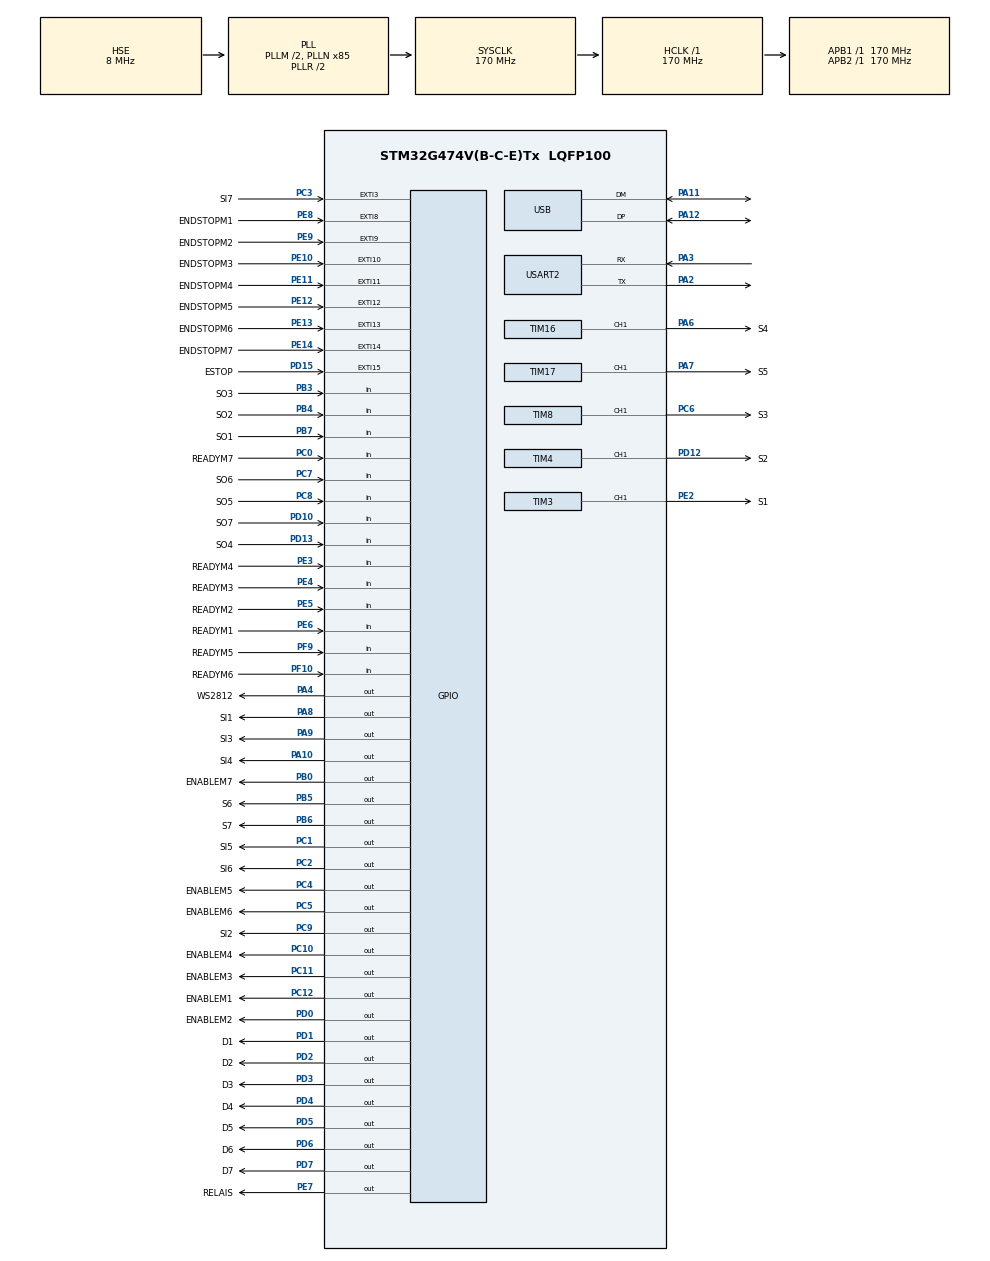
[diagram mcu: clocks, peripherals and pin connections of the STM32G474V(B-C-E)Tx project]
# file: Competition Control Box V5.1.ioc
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Mcu.Family=STM32G4
Mcu.Name=STM32G474V(B-C-E)Tx
Mcu.Package=LQFP100
NVIC.PriorityGroup=NVIC_PRIORITYGROUP_4
NVIC.TIM1_BRK_TIM15_IRQn=true\:0\:0\:false\:false\:true\:true\:true\:true
NVIC.TIM1_CC_IRQn=true\:0\:0\:false\:false\:true\:true\:true\:true
NVIC.TIM20_CC_IRQn=true\:0\:0\:false\:false\:true\:true\:true\:true
NVIC.TIM2_IRQn=true\:0\:0\:false\:false\:true\:true\:true\:true
NVIC.TIM5_IRQn=true\:0\:0\:false\:false\:true\:true\:true\:true
NVIC.TIM6_DAC_IRQn=true\:0\:0\:false\:false\:true\:true\:true\:true
NVIC.USB_LP_IRQn=true\:0\:0\:false\:false\:true\:false\:true\:true
PA10.GPIO_Label=SI4
PA10.Signal=GPIO_Output
PA11.Mode=Device
PA11.Signal=USB_DM
PA12.Mode=Device
PA12.Signal=USB_DP
PA13.Signal=SYS_JTMS-SWDIO
PA14.Signal=SYS_JTCK-SWCLK
PA2.Mode=Asynchronous
PA2.Signal=USART2_TX
PA3.Mode=Asynchronous
PA3.Signal=USART2_RX
PA4.GPIO_Label=WS2812
PA4.Signal=GPIO_Output
PA6.GPIO_Label=S4
PA6.Signal=S_TIM16_CH1
PA7.GPIO_Label=S5
PA7.Signal=S_TIM17_CH1
PA8.GPIO_Label=SI1
PA8.Signal=GPIO_Output
PA9.GPIO_Label=SI3
PA9.Signal=GPIO_Output
PB0.GPIO_Label=ENABLEM7
PB0.Signal=GPIO_Output
PB3.GPIO_Label=SO3
PB3.GPIO_PuPd=GPIO_PULLUP
PB3.Signal=GPIO_Input
PB4.GPIO_Label=SO2
PB4.GPIO_PuPd=GPIO_PULLUP
PB4.Signal=GPIO_Input
PB5.GPIO_Label=S6
PB5.GPIO_Speed=GPIO_SPEED_FREQ_VERY_HIGH
PB5.Signal=GPIO_Output
PB6.GPIO_FM6=SYSCFG_FASTMODEPLUS_PB6
PB6.GPIO_Label=S7
PB6.GPIO_Speed=GPIO_SPEED_FREQ_VERY_HIGH
PB6.Signal=GPIO_Output
PB7.GPIO_Label=SO1
PB7.GPIO_PuPd=GPIO_PULLUP
PB7.Signal=GPIO_Input
PC0.GPIO_Label=READYM7
PC0.GPIO_PuPd=GPIO_PULLUP
PC0.Signal=GPIO_Input
PC1.GPIO_Label=SI5
PC1.Signal=GPIO_Output
PC10.GPIO_Label=ENABLEM4
PC10.Signal=GPIO_Output
PC11.GPIO_Label=ENABLEM3
PC11.Signal=GPIO_Output
PC12.GPIO_Label=ENABLEM1
PC12.Signal=GPIO_Output
PC2.GPIO_Label=SI6
PC2.Signal=GPIO_Output
PC3.GPIO_Label=SI7
PC3.Signal=GPXTI3
PC4.GPIO_Label=ENABLEM5
PC4.Signal=GPIO_Output
PC5.GPIO_Label=ENABLEM6
PC5.Signal=GPIO_Output
PC6.GPIO_Label=S3
PC6.Signal=S_TIM8_CH1
PC7.GPIO_Label=SO6
PC7.GPIO_PuPd=GPIO_PULLUP
PC7.Signal=GPIO_Input
PC8.GPIO_Label=SO5
PC8.GPIO_PuPd=GPIO_PULLUP
PC8.Signal=GPIO_Input
PC9.GPIO_Label=SI2
PC9.Signal=GPIO_Output
PD0.GPIO_Label=ENABLEM2
PD0.Signal=GPIO_Output
PD1.GPIO_Label=D1
PD1.GPIO_Speed=GPIO_SPEED_FREQ_VERY_HIGH
PD1.Signal=GPIO_Output
PD10.GPIO_Label=SO7
PD10.GPIO_PuPd=GPIO_PULLUP
PD10.Signal=GPIO_Input
PD12.GPIO_Label=S2
PD12.Signal=S_TIM4_CH1
PD13.GPIO_Label=SO4
PD13.GPIO_PuPd=GPIO_PULLUP
PD13.Signal=GPIO_Input
PD15.GPIO_Label=ESTOP
PD15.GPIO_ModeDefaultEXTI=GPIO_MODE_IT_RISING
PD15.GPIO_PuPd=GPIO_PULLUP
PD15.Signal=GPXTI15
PD2.GPIO_Label=D2
PD2.GPIO_Speed=GPIO_SPEED_FREQ_VERY_HIGH
PD2.Signal=GPIO_Output
PD3.GPIO_Label=D3
PD3.GPIO_Speed=GPIO_SPEED_FREQ_VERY_HIGH
PD3.Signal=GPIO_Output
PD4.GPIO_Label=D4
PD4.GPIO_Speed=GPIO_SPEED_FREQ_VERY_HIGH
PD4.Signal=GPIO_Output
PD5.GPIO_Label=D5
PD5.GPIO_Speed=GPIO_SPEED_FREQ_VERY_HIGH
PD5.Signal=GPIO_Output
PD6.GPIO_Label=D6
PD6.GPIO_Speed=GPIO_SPEED_FREQ_HIGH
PD6.Signal=GPIO_Output
PD7.GPIO_Label=D7
PD7.GPIO_Speed=GPIO_SPEED_FREQ_VERY_HIGH
PD7.Signal=GPIO_Output
PE10.GPIO_Label=ENDSTOPM3
PE10.GPIO_ModeDefaultEXTI=GPIO_MODE_IT_FALLING
PE10.GPIO_PuPd=GPIO_PULLUP
PE10.Signal=GPXTI10
PE11.GPIO_Label=ENDSTOPM4
PE11.GPIO_ModeDefaultEXTI=GPIO_MODE_IT_FALLING
PE11.GPIO_PuPd=GPIO_PULLUP
PE11.Signal=GPXTI11
PE12.GPIO_Label=ENDSTOPM5
PE12.GPIO_ModeDefaultEXTI=GPIO_MODE_IT_FALLING
PE12.GPIO_PuPd=GPIO_PULLUP
PE12.Signal=GPXTI12
PE13.GPIO_Label=ENDSTOPM6
PE13.GPIO_ModeDefaultEXTI=GPIO_MODE_IT_FALLING
PE13.GPIO_PuPd=GPIO_PULLUP
PE13.Signal=GPXTI13
PE14.GPIO_Label=ENDSTOPM7
PE14.GPIO_ModeDefaultEXTI=GPIO_MODE_IT_FALLING
PE14.GPIO_PuPd=GPIO_PULLUP
PE14.Signal=GPXTI14
PE2.GPIO_Label=S1
PE2.Signal=S_TIM3_CH1
PE3.GPIO_Label=READYM4
PE3.GPIO_PuPd=GPIO_PULLUP
PE3.Signal=GPIO_Input
PE4.GPIO_Label=READYM3
PE4.GPIO_PuPd=GPIO_PULLUP
PE4.Signal=GPIO_Input
PE5.GPIO_Label=READYM2
PE5.GPIO_PuPd=GPIO_PULLUP
PE5.Signal=GPIO_Input
PE6.GPIO_Label=READYM1
PE6.GPIO_PuPd=GPIO_PULLUP
PE6.Signal=GPIO_Input
PE7.GPIO_Label=RELAIS
PE7.Signal=GPIO_Output
PE8.GPIO_Label=ENDSTOPM1
PE8.GPIO_ModeDefaultEXTI=GPIO_MODE_IT_FALLING
PE8.GPIO_PuPd=GPIO_PULLUP
PE8.Signal=GPXTI8
PE9.GPIO_Label=ENDSTOPM2
PE9.GPIO_ModeDefaultEXTI=GPIO_MODE_IT_FALLING
PE9.GPIO_PuPd=GPIO_PULLUP
PE9.Signal=GPXTI9
PF0-OSC_IN.Mode=HSE-External-Oscillator
PF0-OSC_IN.Signal=RCC_OSC_IN
PF1-OSC_OUT.Mode=HSE-External-Oscillator
PF1-OSC_OUT.Signal=RCC_OSC_OUT
PF10.GPIO_Label=READYM6
PF10.GPIO_PuPd=GPIO_PULLUP
PF10.Signal=GPIO_Input
PF9.GPIO_Label=READYM5
PF9.GPIO_PuPd=GPIO_PULLUP
PF9.Signal=GPIO_Input
ProjectManager.HeapSize=0x200
ProjectManager.StackSize=0x400
ProjectManager.TargetToolchain=STM32CubeIDE
RCC.ADC12Freq_Value=170000000
RCC.ADC345Freq_Value=170000000
RCC.AHBFreq_Value=170000000
RCC.APB1Freq_Value=170000000
RCC.APB1TimFreq_Value=170000000
RCC.APB2Freq_Value=170000000
RCC.APB2TimFreq_Value=170000000
RCC.CK48CLockSelection=RCC_USBCLKSOURCE_HSI48
RCC.CortexFreq_Value=170000000
RCC.EXTERNAL_CLOCK_VALUE=12288000
RCC.HCLKFreq_Value=170000000
RCC.HSE_VALUE=8000000
RCC.HSI48_VALUE=48000000
RCC.HSI_VALUE=16000000
RCC.LSE_VALUE=32768
RCC.PLLM=RCC_PLLM_DIV2
RCC.PLLN=85
RCC.PLLSourceVirtual=RCC_PLLSOURCE_HSE
RCC.SYSCLKFreq_VALUE=170000000
RCC.SYSCLKSource=RCC_SYSCLKSOURCE_PLLCLK
RCC.USBFreq_Value=48000000
RCC.VCOOutputFreq_Value=340000000
SH.S_TIM16_CH1.0=TIM16_CH1,PWM Generation1 CH1
SH.S_TIM17_CH1.0=TIM17_CH1,PWM Generation1 CH1
SH.S_TIM3_CH1.0=TIM3_CH1,PWM Generation1 CH1
SH.S_TIM4_CH1.0=TIM4_CH1,PWM Generation1 CH1
SH.S_TIM8_CH1.0=TIM8_CH1,PWM Generation1 CH1
TIM1.Channel-PWM\ Generation1\ No\ Output=TIM_CHANNEL_1
TIM15.Channel-Output\ Compare1\ No\ Output=TIM_CHANNEL_1
TIM16.Channel=TIM_CHANNEL_1
TIM16.PeriodNoDither=377
TIM16.PulseNoDither_1=189
TIM17.Channel=TIM_CHANNEL_1
TIM17.PeriodNoDither=377
TIM17.PulseNoDither_1=189
TIM2.Channel-Output\ Compare1\ No\ Output=TIM_CHANNEL_1
TIM2.TIM_MasterOutputTrigger=TIM_TRGO_UPDATE
TIM20.Channel-Output\ Compare1\ No\ Output=TIM_CHANNEL_1
TIM3.Channel-PWM\ Generation1\ CH1=TIM_CHANNEL_1
TIM3.PeriodNoDither=377
TIM3.PulseNoDither_1=189
TIM3.TIM_MasterOutputTrigger=TIM_TRGO_UPDATE
TIM4.Channel-PWM\ Generation1\ CH1=TIM_CHANNEL_1
TIM4.PeriodNoDither=377
TIM4.PulseNoDither_1=189
TIM4.TIM_MasterOutputTrigger=TIM_TRGO_UPDATE
TIM8.Channel-PWM\ Generation1\ CH1=TIM_CHANNEL_1
TIM8.PeriodNoDither=377
TIM8.PulseNoDither_1=189
TIM8.TIM_MasterOutputTrigger=TIM_TRGO_UPDATE
USART2.VirtualMode-Asynchronous=VM_ASYNC
USB_DEVICE.CLASS_NAME_FS=CDC
USB_DEVICE.MANUFACTURER_STRING=Lebois Racing
USB_DEVICE.PID_CDC_FS=22337
USB_DEVICE.PRODUCT_STRING_CDC_FS=Competition Control Box V3
USB_DEVICE.VID=0xCB30
USB_DEVICE.VirtualMode=Cdc
USB_DEVICE.VirtualModeFS=Cdc_FS
VP_SYS_VS_DBSignals.Mode=DisableDeadBatterySignals
VP_TIM15_VS_ClockSourceITR.Mode=TriggerSource_ITR4
VP_TIM15_VS_ControllerModeClock.Mode=Clock Mode
VP_TIM15_VS_no_output1.Mode=Output Compare1 No Output
VP_TIM16_VS_ClockSourceINT.Mode=Enable_Timer
VP_TIM17_VS_ClockSourceINT.Mode=Enable_Timer
VP_TIM1_VS_ClockSourceITR.Mode=TriggerSource_ITR1
VP_TIM1_VS_ControllerModeClock.Mode=Clock Mode
VP_TIM1_VS_no_output1.Mode=PWM Generation1 No Output
VP_TIM20_VS_ClockSourceITR.Mode=TriggerSource_ITR3
VP_TIM20_VS_ControllerModeClock.Mode=Clock Mode
VP_TIM20_VS_no_output1.Mode=Output Compare1 No Output
VP_TIM2_VS_ClockSourceITR.Mode=TriggerSource_ITR2
VP_TIM2_VS_ControllerModeClock.Mode=Clock Mode
VP_TIM2_VS_no_output1.Mode=Output Compare1 No Output
VP_TIM5_VS_ClockSourceITR.Mode=TriggerSource_ITR0
VP_TIM5_VS_ControllerModeClock.Mode=Clock Mode
VP_TIM6_VS_ClockSourceINT.Mode=Enable_Timer
VP_USB_DEVICE_VS_USB_DEVICE_CDC_FS.Mode=CDC_FS
board=custom

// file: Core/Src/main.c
/* USER CODE BEGIN Header */
/**
  ******************************************************************************
  * @file           : main.c
  * @brief          : Main program body
  ******************************************************************************
  * @attention
  *
  * Copyright (c) 2026 STMicroelectronics.
  * All rights reserved.
  *
  * This software is licensed under terms that can be found in the LICENSE file
  * in the root directory of this software component.
  * If no LICENSE file comes with this software, it is provided AS-IS.
  *
  ******************************************************************************
  */
/* USER CODE END Header */
#include "main.h"
#include "usb_device.h"

/* USER CODE BEGIN Includes */
#include "motion.h"
#include "debug_uart.h"
#include "simhub_parser.h"
#include "mc_protocol.h"
#include "usbd_cdc_if.h"
#include "status_led.h"
#include "bl_update.h"
/* USER CODE END Includes */

/* USER CODE BEGIN PD */

#define STEP_GEN_TIMER_CLK_HZ     170000000u
#define STEP_GEN_PERIOD           1699u
#define STEP_GEN_PULSE            ((STEP_GEN_PERIOD + 1u) / 2u)

#define DEBUG_MOTION_LOG_ENABLE   0u
#define DEBUG_MOTION_LOG_PERIOD_MS 1000u

#define TIM6_BITBANG_TICK_HZ      MOTION_BITBANG_TICK_HZ
#define TIM6_BITBANG_PSC          0u
#define TIM6_BITBANG_PERIOD       ((STEP_GEN_TIMER_CLK_HZ / TIM6_BITBANG_TICK_HZ) - 1u)

/* USER CODE END PD */

TIM_HandleTypeDef htim1;
TIM_HandleTypeDef htim2;
TIM_HandleTypeDef htim3;
TIM_HandleTypeDef htim4;
TIM_HandleTypeDef htim5;
TIM_HandleTypeDef htim6;
TIM_HandleTypeDef htim8;
TIM_HandleTypeDef htim15;
TIM_HandleTypeDef htim16;
TIM_HandleTypeDef htim17;
TIM_HandleTypeDef htim20;

UART_HandleTypeDef huart2;

void SystemClock_Config(void);
static void MX_GPIO_Init(void);
static void MX_TIM1_Init(void);
static void MX_TIM2_Init(void);
static void MX_TIM3_Init(void);
static void MX_TIM4_Init(void);
static void MX_TIM5_Init(void);
static void MX_TIM6_Init(void);
static void MX_TIM8_Init(void);
static void MX_TIM15_Init(void);
static void MX_TIM16_Init(void);
static void MX_TIM17_Init(void);
static void MX_TIM20_Init(void);
static void MX_USART2_UART_Init(void);

/* USER CODE BEGIN 0 */

static inline void set_slave_ts(TIM_TypeDef *t, uint8_t ts) {
  t->SMCR &= ~TIM_SMCR_TS;
  t->SMCR |= ((uint32_t)(ts & 0x07U) << 4) | ((uint32_t)((ts >> 3) & 0x03U) << 20);
}
static uint32_t test_itr_count(TIM_TypeDef *slave, uint8_t ts)
{
  slave->CR1 &= ~TIM_CR1_CEN;
  slave->SMCR &= ~(TIM_SMCR_SMS | TIM_SMCR_TS);
  slave->SMCR |= TIM_SMCR_SMS_2 | TIM_SMCR_SMS_1 | TIM_SMCR_SMS_0;
  slave->SMCR |= ((uint32_t)(ts & 0x07U) << 4) | ((uint32_t)((ts >> 3) & 0x03U) << 20);
  slave->CNT = 0;
  slave->CR1 |= TIM_CR1_CEN;

  uint32_t before = slave->CNT;
  HAL_Delay(50);
  uint32_t after = slave->CNT;
  slave->CR1 &= ~TIM_CR1_CEN;
  return (uint32_t)(after - before);
}

static void Debug_Send(const char *m, int k)
{
  HAL_UART_Transmit(&huart2, (uint8_t*)m, k, HAL_MAX_DELAY);
}

static void scan_pair(const char *name, TIM_HandleTypeDef *genTim, uint32_t genCh,
                      TIM_TypeDef *slave)
{
  char m[80];
  HAL_TIM_PWM_Start(genTim, genCh);
  HAL_Delay(5);

  int found = -1;
  for (uint8_t ts = 0; ts < 16; ts++) {
    uint32_t moved = test_itr_count(slave, ts);
    int k = snprintf(m, sizeof(m), "%s TS=%u moved=%lu\r\n",
                     name, ts, (unsigned long)moved);
    Debug_Send(m, k);
    if (moved > 1000 && found < 0) found = ts;
  }
  HAL_TIM_PWM_Stop(genTim, genCh);

  int k = snprintf(m, sizeof(m), ">>> %s : ITR/TS = %d\r\n\r\n", name, found);
  Debug_Send(m, k);
}

#define DBG_ENABLE_ACTIVE_LOW  1u
#define DBG_RELAIS_ACTIVE_HIGH 1u
#define DBG_ENDSTOP_ACTIVE_LOW 1u
#define DBG_ESTOP_ACTIVE_LOW   0u

typedef struct {
  GPIO_TypeDef *port;
  uint16_t pin;
} io_pin_t;

static const io_pin_t k_enable_pins[7] = {
  { ENABLEM1_GPIO_Port, ENABLEM1_Pin },
  { ENABLEM2_GPIO_Port, ENABLEM2_Pin },
  { ENABLEM3_GPIO_Port, ENABLEM3_Pin },
  { ENABLEM4_GPIO_Port, ENABLEM4_Pin },
  { ENABLEM5_GPIO_Port, ENABLEM5_Pin },
  { ENABLEM6_GPIO_Port, ENABLEM6_Pin },
  { ENABLEM7_GPIO_Port, ENABLEM7_Pin },
};

static const io_pin_t k_endstop_pins[7] = {
  { ENDSTOPM1_GPIO_Port, ENDSTOPM1_Pin },
  { ENDSTOPM2_GPIO_Port, ENDSTOPM2_Pin },
  { ENDSTOPM3_GPIO_Port, ENDSTOPM3_Pin },
  { ENDSTOPM4_GPIO_Port, ENDSTOPM4_Pin },
  { ENDSTOPM5_GPIO_Port, ENDSTOPM5_Pin },
  { ENDSTOPM6_GPIO_Port, ENDSTOPM6_Pin },
  { ENDSTOPM7_GPIO_Port, ENDSTOPM7_Pin },
};

static const io_pin_t k_ready_pins[7] = {
  { READYM1_GPIO_Port, READYM1_Pin },
  { READYM2_GPIO_Port, READYM2_Pin },
  { READYM3_GPIO_Port, READYM3_Pin },
  { READYM4_GPIO_Port, READYM4_Pin },
  { READYM5_GPIO_Port, READYM5_Pin },
  { READYM6_GPIO_Port, READYM6_Pin },
  { READYM7_GPIO_Port, READYM7_Pin },
};

static const io_pin_t k_so_pins[7] = {
  { SO1_GPIO_Port, SO1_Pin },
  { SO2_GPIO_Port, SO2_Pin },
  { SO3_GPIO_Port, SO3_Pin },
  { SO4_GPIO_Port, SO4_Pin },
  { SO5_GPIO_Port, SO5_Pin },
  { SO6_GPIO_Port, SO6_Pin },
  { SO7_GPIO_Port, SO7_Pin },
};

static const io_pin_t k_si_pins[7] = {
  { SI1_GPIO_Port, SI1_Pin },
  { SI2_GPIO_Port, SI2_Pin },
  { SI3_GPIO_Port, SI3_Pin },
  { SI4_GPIO_Port, SI4_Pin },
  { SI5_GPIO_Port, SI5_Pin },
  { SI6_GPIO_Port, SI6_Pin },
  { SI7_GPIO_Port, SI7_Pin },
};

static const io_pin_t k_dir_pins[7] = {
  { D1_GPIO_Port, D1_Pin },
  { D2_GPIO_Port, D2_Pin },
  { D3_GPIO_Port, D3_Pin },
  { D4_GPIO_Port, D4_Pin },
  { D5_GPIO_Port, D5_Pin },
  { D6_GPIO_Port, D6_Pin },
  { D7_GPIO_Port, D7_Pin },
};

static const io_pin_t k_step_pins[7] = {
  { S1_GPIO_Port, S1_Pin },
  { S2_GPIO_Port, S2_Pin },
  { S3_GPIO_Port, S3_Pin },
  { S4_GPIO_Port, S4_Pin },
  { S5_GPIO_Port, S5_Pin },
  { S6_GPIO_Port, S6_Pin },
  { S7_GPIO_Port, S7_Pin },
};

static uint32_t io_read_mask7(const io_pin_t *pins)
{
  uint32_t mask = 0u;
  for (uint8_t i = 0u; i < 7u; i++) {
    if (HAL_GPIO_ReadPin(pins[i].port, pins[i].pin) == GPIO_PIN_SET) {
      mask |= (1u << i);
    }
  }
  return mask;
}

static void Debug_LogIoState(void)
{
  static uint8_t s_valid = 0u;
  static uint32_t s_prev_en_raw = 0u;
  static uint32_t s_prev_end_raw = 0u;
  static uint32_t s_prev_ready = 0u;
  static uint32_t s_prev_so = 0u;
  static uint32_t s_prev_si = 0u;
  static uint8_t s_prev_relais = 0u;
  static uint8_t s_prev_estop = 0u;
  static uint8_t s_prev_servo = 0u;

  const uint32_t en_raw = io_read_mask7(k_enable_pins) & 0x7Fu;
  const uint32_t end_raw = io_read_mask7(k_endstop_pins) & 0x7Fu;
  const uint32_t ready = io_read_mask7(k_ready_pins) & 0x7Fu;
  const uint32_t so = io_read_mask7(k_so_pins) & 0x7Fu;
  const uint32_t si = io_read_mask7(k_si_pins) & 0x7Fu;
  const uint32_t dir = io_read_mask7(k_dir_pins) & 0x7Fu;
  const uint32_t step = io_read_mask7(k_step_pins) & 0x7Fu;

  const uint8_t relais_raw = (HAL_GPIO_ReadPin(RELAIS_GPIO_Port, RELAIS_Pin) == GPIO_PIN_SET) ? 1u : 0u;
  const uint8_t estop_raw = (HAL_GPIO_ReadPin(ESTOP_GPIO_Port, ESTOP_Pin) == GPIO_PIN_SET) ? 1u : 0u;
  const uint8_t servo_on = MC_ServoEnabled() ? 1u : 0u;

  if (s_valid &&
      en_raw == s_prev_en_raw &&
      end_raw == s_prev_end_raw &&
      ready == s_prev_ready &&
      so == s_prev_so &&
      si == s_prev_si &&
      /* DIR/STEP exclus du declencheur : ils changent en permanence pendant
         le mouvement -> log UART bloquant (~12 ms @115200) chaque seconde,
         gelant le refresh des cibles SimHub (a-coups perceptibles). */
      relais_raw == s_prev_relais &&
      estop_raw == s_prev_estop &&
      servo_on == s_prev_servo) {
    return;
  }

  s_prev_en_raw = en_raw;
  s_prev_end_raw = end_raw;
  s_prev_ready = ready;
  s_prev_so = so;
  s_prev_si = si;
  s_prev_relais = relais_raw;
  s_prev_estop = estop_raw;
  s_prev_servo = servo_on;
  s_valid = 1u;

  const uint32_t en_active = DBG_ENABLE_ACTIVE_LOW ? ((~en_raw) & 0x7Fu) : en_raw;
  const uint32_t end_active = DBG_ENDSTOP_ACTIVE_LOW ? ((~end_raw) & 0x7Fu) : end_raw;
  const uint8_t relais_active = DBG_RELAIS_ACTIVE_HIGH ? relais_raw : (uint8_t)(!relais_raw);
  const uint8_t estop_active = DBG_ESTOP_ACTIVE_LOW ? (uint8_t)(!estop_raw) : estop_raw;

  DebugUart_Printf("[IO] SERVO=%u REL(raw=%u act=%u) ESTOP(raw=%u act=%u) EN(raw=0x%02lX act=0x%02lX) END(raw=0x%02lX act=0x%02lX)\r\n",
                   (unsigned)servo_on,
                   (unsigned)relais_raw,
                   (unsigned)relais_active,
                   (unsigned)estop_raw,
                   (unsigned)estop_active,
                   (unsigned long)en_raw,
                   (unsigned long)en_active,
                   (unsigned long)end_raw,
                   (unsigned long)end_active);

  DebugUart_Printf("[IO] READY=0x%02lX SO=0x%02lX SI=0x%02lX DIR=0x%02lX STEP=0x%02lX\r\n",
                   (unsigned long)ready,
                   (unsigned long)so,
                   (unsigned long)si,
                   (unsigned long)dir,
                   (unsigned long)step);
}

static void Debug_LogMotionState(void)
{
  static uint8_t s_valid = 0u;
  static int32_t s_prev_pos[7] = {0};
  static int32_t s_prev_tgt[7] = {0};

  int32_t pos[7];
  int32_t tgt[7];
  uint8_t changed = (uint8_t)(!s_valid);

  for (uint8_t i = 0u; i < 7u; i++) {
    pos[i] = Motion_GetPosition(i);
    tgt[i] = Motion_GetTarget(i);
    if (s_valid && (pos[i] != s_prev_pos[i] || tgt[i] != s_prev_tgt[i])) {
      changed = 1u;
    }
  }

  if (!changed) {
    return;
  }

  DebugUart_Printf("[MOT] M1 p=%ld t=%ld e=%ld | M2 p=%ld t=%ld e=%ld | M3 p=%ld t=%ld e=%ld | M4 p=%ld t=%ld e=%ld\r\n",
                   (long)pos[0], (long)tgt[0], (long)(tgt[0] - pos[0]),
                   (long)pos[1], (long)tgt[1], (long)(tgt[1] - pos[1]),
                   (long)pos[2], (long)tgt[2], (long)(tgt[2] - pos[2]),
                   (long)pos[3], (long)tgt[3], (long)(tgt[3] - pos[3]));
  DebugUart_Printf("[MOT] M5 p=%ld t=%ld e=%ld | M6 p=%ld t=%ld e=%ld | M7 p=%ld t=%ld e=%ld\r\n",
                   (long)pos[4], (long)tgt[4], (long)(tgt[4] - pos[4]),
                   (long)pos[5], (long)tgt[5], (long)(tgt[5] - pos[5]),
                   (long)pos[6], (long)tgt[6], (long)(tgt[6] - pos[6]));

  for (uint8_t i = 0u; i < 7u; i++) {
    s_prev_pos[i] = pos[i];
    s_prev_tgt[i] = tgt[i];
  }
  s_valid = 1u;
}

/* USER CODE END 0 */

int main(void)
{

  /* USER CODE BEGIN 1 */
  /* L'application est liee en banque 2 (0x08040000 ; banque 1 = bootloader CDC).
     Relocaliser la table des vecteurs avant HAL_Init(). */
 // SCB->VTOR = 0x08040000U;
  /* USER CODE END 1 */

  /* MCU Configuration--------------------------------------------------------*/

  /* Reset of all peripherals, Initializes the Flash interface and the Systick. */
  HAL_Init();

  /* Configure the system clock */
  SystemClock_Config();

  /* Initialize all configured peripherals */
  MX_GPIO_Init();
  MX_USB_Device_Init();
  MX_TIM1_Init();
  MX_TIM2_Init();
  MX_TIM3_Init();
  MX_TIM4_Init();
  MX_TIM5_Init();
  MX_TIM6_Init();
  MX_TIM8_Init();
  MX_TIM15_Init();
  MX_TIM16_Init();
  MX_TIM17_Init();
  MX_TIM20_Init();
  MX_USART2_UART_Init();
  /* USER CODE BEGIN 2 */

    DebugUart_Print("[BOOT] UART debug ready\r\n");
    DebugUart_Printf("[BOOT] STEP cfg ARR=%lu CCR=%lu Freq~%lu Hz\r\n",
                     (unsigned long)STEP_GEN_PERIOD,
                     (unsigned long)STEP_GEN_PULSE,
                     (unsigned long)(STEP_GEN_TIMER_CLK_HZ / (STEP_GEN_PERIOD + 1u)));

  /* NOTE: ajouter les MX_TIMx_Init() generes par CubeMX AVANT ces appels
     (TIM2/3/4/5/8/1/16/20/17/15/6). Ils seront inseres ici par CubeMX. */
  SimHub_Init();
  Motion_Init();
  MC_Init();
  StatusLed_Init();
  StatusLed_ShowPerMotor(MC_GetReadyMask(), 0u, 255u, 0u);
  /* USER CODE END 2 */

  /* Infinite loop */
  /* USER CODE BEGIN WHILE */
  while (1)
  {
    SimHub_Process();          /* decode les trames USB -> Motion_SetTarget */
    MC_Process();              /* ESTOP deferre + autres taches protocole    */
    BL_Update_Process();       /* mise a jour bootloader si mode actif       */

    static uint32_t s_dbg_last_ms = 0u;
    static uint32_t s_mot_last_ms = 0u;

    uint32_t now = HAL_GetTick();
    if ((uint32_t)(now - s_dbg_last_ms) >= 1000u) {
      Debug_LogIoState();

      s_dbg_last_ms = now;
    }

    if (DEBUG_MOTION_LOG_ENABLE &&
        (uint32_t)(now - s_mot_last_ms) >= DEBUG_MOTION_LOG_PERIOD_MS) {
      Debug_LogMotionState();
      s_mot_last_ms = now;
    }
    /* USER CODE END WHILE */

  }
}

void SystemClock_Config(void)
{
  RCC_OscInitTypeDef RCC_OscInitStruct = {0};
  RCC_ClkInitTypeDef RCC_ClkInitStruct = {0};

  /** Configure the main internal regulator output voltage
  */
  HAL_PWREx_ControlVoltageScaling(PWR_REGULATOR_VOLTAGE_SCALE1_BOOST);

  /** Initializes the RCC Oscillators according to the specified parameters
  * in the RCC_OscInitTypeDef structure.
  */
  RCC_OscInitStruct.OscillatorType = RCC_OSCILLATORTYPE_HSI48|RCC_OSCILLATORTYPE_HSE;
  RCC_OscInitStruct.HSEState = RCC_HSE_ON;
  RCC_OscInitStruct.HSI48State = RCC_HSI48_ON;
  RCC_OscInitStruct.PLL.PLLState = RCC_PLL_ON;
  RCC_OscInitStruct.PLL.PLLSource = RCC_PLLSOURCE_HSE;
  RCC_OscInitStruct.PLL.PLLM = RCC_PLLM_DIV2;
  RCC_OscInitStruct.PLL.PLLN = 85;
  RCC_OscInitStruct.PLL.PLLP = RCC_PLLP_DIV2;
  RCC_OscInitStruct.PLL.PLLQ = RCC_PLLQ_DIV2;
  RCC_OscInitStruct.PLL.PLLR = RCC_PLLR_DIV2;
  if (HAL_RCC_OscConfig(&RCC_OscInitStruct) != HAL_OK)
  {
    Error_Handler();
  }

  /** Initializes the CPU, AHB and APB buses clocks
  */
  RCC_ClkInitStruct.ClockType = RCC_CLOCKTYPE_HCLK|RCC_CLOCKTYPE_SYSCLK
                              |RCC_CLOCKTYPE_PCLK1|RCC_CLOCKTYPE_PCLK2;
  RCC_ClkInitStruct.SYSCLKSource = RCC_SYSCLKSOURCE_PLLCLK;
  RCC_ClkInitStruct.AHBCLKDivider = RCC_SYSCLK_DIV1;
  RCC_ClkInitStruct.APB1CLKDivider = RCC_HCLK_DIV1;
  RCC_ClkInitStruct.APB2CLKDivider = RCC_HCLK_DIV1;

  if (HAL_RCC_ClockConfig(&RCC_ClkInitStruct, FLASH_LATENCY_4) != HAL_OK)
  {
    Error_Handler();
  }
}

static void MX_TIM1_Init(void)
{

  TIM_SlaveConfigTypeDef sSlaveConfig = {0};
  TIM_MasterConfigTypeDef sMasterConfig = {0};
  TIM_OC_InitTypeDef sConfigOC = {0};
  TIM_BreakDeadTimeConfigTypeDef sBreakDeadTimeConfig = {0};

  htim1.Instance = TIM1;
  htim1.Init.Prescaler = 0;
  htim1.Init.CounterMode = TIM_COUNTERMODE_UP;
  htim1.Init.Period = 65535;
  htim1.Init.ClockDivision = TIM_CLOCKDIVISION_DIV1;
  htim1.Init.RepetitionCounter = 0;
  htim1.Init.AutoReloadPreload = TIM_AUTORELOAD_PRELOAD_DISABLE;
  if (HAL_TIM_Base_Init(&htim1) != HAL_OK)
  {
    Error_Handler();
  }
  if (HAL_TIM_PWM_Init(&htim1) != HAL_OK)
  {
    Error_Handler();
  }
  sSlaveConfig.SlaveMode = TIM_SLAVEMODE_EXTERNAL1;
  sSlaveConfig.InputTrigger = TIM_TS_ITR1;
  if (HAL_TIM_SlaveConfigSynchro(&htim1, &sSlaveConfig) != HAL_OK)
  {
    Error_Handler();
  }
  sMasterConfig.MasterOutputTrigger = TIM_TRGO_RESET;
  sMasterConfig.MasterOutputTrigger2 = TIM_TRGO2_RESET;
  sMasterConfig.MasterSlaveMode = TIM_MASTERSLAVEMODE_DISABLE;
  if (HAL_TIMEx_MasterConfigSynchronization(&htim1, &sMasterConfig) != HAL_OK)
  {
    Error_Handler();
  }
  sConfigOC.OCMode = TIM_OCMODE_PWM1;
  sConfigOC.Pulse = 0;
  sConfigOC.OCPolarity = TIM_OCPOLARITY_HIGH;
  sConfigOC.OCNPolarity = TIM_OCNPOLARITY_HIGH;
  sConfigOC.OCFastMode = TIM_OCFAST_DISABLE;
  sConfigOC.OCIdleState = TIM_OCIDLESTATE_RESET;
  sConfigOC.OCNIdleState = TIM_OCNIDLESTATE_RESET;
  if (HAL_TIM_PWM_ConfigChannel(&htim1, &sConfigOC, TIM_CHANNEL_1) != HAL_OK)
  {
    Error_Handler();
  }
  sBreakDeadTimeConfig.OffStateRunMode = TIM_OSSR_DISABLE;
  sBreakDeadTimeConfig.OffStateIDLEMode = TIM_OSSI_DISABLE;
  sBreakDeadTimeConfig.LockLevel = TIM_LOCKLEVEL_OFF;
  sBreakDeadTimeConfig.DeadTime = 0;
  sBreakDeadTimeConfig.BreakState = TIM_BREAK_DISABLE;
  sBreakDeadTimeConfig.BreakPolarity = TIM_BREAKPOLARITY_HIGH;
  sBreakDeadTimeConfig.BreakFilter = 0;
  sBreakDeadTimeConfig.BreakAFMode = TIM_BREAK_AFMODE_INPUT;
  sBreakDeadTimeConfig.Break2State = TIM_BREAK2_DISABLE;
  sBreakDeadTimeConfig.Break2Polarity = TIM_BREAK2POLARITY_HIGH;
  sBreakDeadTimeConfig.Break2Filter = 0;
  sBreakDeadTimeConfig.Break2AFMode = TIM_BREAK_AFMODE_INPUT;
  sBreakDeadTimeConfig.AutomaticOutput = TIM_AUTOMATICOUTPUT_DISABLE;
  if (HAL_TIMEx_ConfigBreakDeadTime(&htim1, &sBreakDeadTimeConfig) != HAL_OK)
  {
    Error_Handler();
  }
  /* USER CODE BEGIN TIM1_Init 2 */
  set_slave_ts(TIM1, 9);
  /* USER CODE END TIM1_Init 2 */

}

static void MX_TIM2_Init(void)
{

  TIM_SlaveConfigTypeDef sSlaveConfig = {0};
  TIM_MasterConfigTypeDef sMasterConfig = {0};
  TIM_OC_InitTypeDef sConfigOC = {0};

  htim2.Instance = TIM2;
  htim2.Init.Prescaler = 0;
  htim2.Init.CounterMode = TIM_COUNTERMODE_UP;
  htim2.Init.Period = 4294967295;
  htim2.Init.ClockDivision = TIM_CLOCKDIVISION_DIV1;
  htim2.Init.AutoReloadPreload = TIM_AUTORELOAD_PRELOAD_DISABLE;
  if (HAL_TIM_Base_Init(&htim2) != HAL_OK)
  {
    Error_Handler();
  }
  if (HAL_TIM_OC_Init(&htim2) != HAL_OK)
  {
    Error_Handler();
  }
  sSlaveConfig.SlaveMode = TIM_SLAVEMODE_EXTERNAL1;
  sSlaveConfig.InputTrigger = TIM_TS_ITR2;
  if (HAL_TIM_SlaveConfigSynchro(&htim2, &sSlaveConfig) != HAL_OK)
  {
    Error_Handler();
  }
  sMasterConfig.MasterOutputTrigger = TIM_TRGO_UPDATE;
  sMasterConfig.MasterSlaveMode = TIM_MASTERSLAVEMODE_DISABLE;
  if (HAL_TIMEx_MasterConfigSynchronization(&htim2, &sMasterConfig) != HAL_OK)
  {
    Error_Handler();
  }
  sConfigOC.OCMode = TIM_OCMODE_TIMING;
  sConfigOC.Pulse = 0;
  sConfigOC.OCPolarity = TIM_OCPOLARITY_HIGH;
  sConfigOC.OCFastMode = TIM_OCFAST_DISABLE;
  if (HAL_TIM_OC_ConfigChannel(&htim2, &sConfigOC, TIM_CHANNEL_1) != HAL_OK)
  {
    Error_Handler();
  }

}

static void MX_TIM3_Init(void)
{

  TIM_MasterConfigTypeDef sMasterConfig = {0};
  TIM_OC_InitTypeDef sConfigOC = {0};

  htim3.Instance = TIM3;
  htim3.Init.Prescaler = 0;
  htim3.Init.CounterMode = TIM_COUNTERMODE_UP;
  htim3.Init.Period = 377;
  htim3.Init.ClockDivision = TIM_CLOCKDIVISION_DIV1;
  htim3.Init.AutoReloadPreload = TIM_AUTORELOAD_PRELOAD_DISABLE;
  if (HAL_TIM_PWM_Init(&htim3) != HAL_OK)
  {
    Error_Handler();
  }
  sMasterConfig.MasterOutputTrigger = TIM_TRGO_UPDATE;
  sMasterConfig.MasterSlaveMode = TIM_MASTERSLAVEMODE_DISABLE;
  if (HAL_TIMEx_MasterConfigSynchronization(&htim3, &sMasterConfig) != HAL_OK)
  {
    Error_Handler();
  }
  sConfigOC.OCMode = TIM_OCMODE_PWM1;
  sConfigOC.Pulse = 189;
  sConfigOC.OCPolarity = TIM_OCPOLARITY_HIGH;
  sConfigOC.OCFastMode = TIM_OCFAST_DISABLE;
  if (HAL_TIM_PWM_ConfigChannel(&htim3, &sConfigOC, TIM_CHANNEL_1) != HAL_OK)
  {
    Error_Handler();
  }
  HAL_TIM_MspPostInit(&htim3);

}

static void MX_TIM4_Init(void)
{

  TIM_MasterConfigTypeDef sMasterConfig = {0};
  TIM_OC_InitTypeDef sConfigOC = {0};

  htim4.Instance = TIM4;
  htim4.Init.Prescaler = 0;
  htim4.Init.CounterMode = TIM_COUNTERMODE_UP;
  htim4.Init.Period = 377;
  htim4.Init.ClockDivision = TIM_CLOCKDIVISION_DIV1;
  htim4.Init.AutoReloadPreload = TIM_AUTORELOAD_PRELOAD_DISABLE;
  if (HAL_TIM_PWM_Init(&htim4) != HAL_OK)
  {
    Error_Handler();
  }
  sMasterConfig.MasterOutputTrigger = TIM_TRGO_UPDATE;
  sMasterConfig.MasterSlaveMode = TIM_MASTERSLAVEMODE_DISABLE;
  if (HAL_TIMEx_MasterConfigSynchronization(&htim4, &sMasterConfig) != HAL_OK)
  {
    Error_Handler();
  }
  sConfigOC.OCMode = TIM_OCMODE_PWM1;
  sConfigOC.Pulse = 189;
  sConfigOC.OCPolarity = TIM_OCPOLARITY_HIGH;
  sConfigOC.OCFastMode = TIM_OCFAST_DISABLE;
  if (HAL_TIM_PWM_ConfigChannel(&htim4, &sConfigOC, TIM_CHANNEL_1) != HAL_OK)
  {
    Error_Handler();
  }
  HAL_TIM_MspPostInit(&htim4);

}

static void MX_TIM5_Init(void)
{

  TIM_SlaveConfigTypeDef sSlaveConfig = {0};
  TIM_MasterConfigTypeDef sMasterConfig = {0};

  htim5.Instance = TIM5;
  htim5.Init.Prescaler = 0;
  htim5.Init.CounterMode = TIM_COUNTERMODE_UP;
  htim5.Init.Period = 4294967295;
  htim5.Init.ClockDivision = TIM_CLOCKDIVISION_DIV1;
  htim5.Init.AutoReloadPreload = TIM_AUTORELOAD_PRELOAD_DISABLE;
  if (HAL_TIM_Base_Init(&htim5) != HAL_OK)
  {
    Error_Handler();
  }
  sSlaveConfig.SlaveMode = TIM_SLAVEMODE_EXTERNAL1;
  sSlaveConfig.InputTrigger = TIM_TS_ITR0;
  if (HAL_TIM_SlaveConfigSynchro(&htim5, &sSlaveConfig) != HAL_OK)
  {
    Error_Handler();
  }
  sMasterConfig.MasterOutputTrigger = TIM_TRGO_RESET;
  sMasterConfig.MasterSlaveMode = TIM_MASTERSLAVEMODE_DISABLE;
  if (HAL_TIMEx_MasterConfigSynchronization(&htim5, &sMasterConfig) != HAL_OK)
  {
    Error_Handler();
  }
  /* USER CODE BEGIN TIM5_Init 2 */
  set_slave_ts(TIM5, 3);
  /* USER CODE END TIM5_Init 2 */

}

static void MX_TIM6_Init(void)
{

  TIM_MasterConfigTypeDef sMasterConfig = {0};

  htim6.Instance = TIM6;
  htim6.Init.Prescaler = 0;
  htim6.Init.CounterMode = TIM_COUNTERMODE_UP;
  htim6.Init.Period = 65535;
  htim6.Init.AutoReloadPreload = TIM_AUTORELOAD_PRELOAD_DISABLE;
  if (HAL_TIM_Base_Init(&htim6) != HAL_OK)
  {
    Error_Handler();
  }
  sMasterConfig.MasterOutputTrigger = TIM_TRGO_RESET;
  sMasterConfig.MasterSlaveMode = TIM_MASTERSLAVEMODE_DISABLE;
  if (HAL_TIMEx_MasterConfigSynchronization(&htim6, &sMasterConfig) != HAL_OK)
  {
    Error_Handler();
  }
  /* USER CODE BEGIN TIM6_Init 2 */
  /* CubeMX genere ARR=65535 (tick ~2.6 kHz -> ~1300 pas/s/axe : bien trop
     lent). On applique ici la cadence bit-bang voulue : 140 kHz, soit
     70 000 pas/s max par axe (2 ticks = 1 pulse). */
  htim6.Instance->PSC = TIM6_BITBANG_PSC;
  htim6.Instance->ARR = TIM6_BITBANG_PERIOD;
  htim6.Instance->EGR = TIM_EGR_UG;   /* charge PSC/ARR immediatement */
  __HAL_TIM_CLEAR_FLAG(&htim6, TIM_FLAG_UPDATE); /* pas d'IT parasite */
  /* USER CODE END TIM6_Init 2 */

}

static void MX_TIM8_Init(void)
{

  TIM_MasterConfigTypeDef sMasterConfig = {0};
  TIM_OC_InitTypeDef sConfigOC = {0};
  TIM_BreakDeadTimeConfigTypeDef sBreakDeadTimeConfig = {0};

  htim8.Instance = TIM8;
  htim8.Init.Prescaler = 0;
  htim8.Init.CounterMode = TIM_COUNTERMODE_UP;
  htim8.Init.Period = 377;
  htim8.Init.ClockDivision = TIM_CLOCKDIVISION_DIV1;
  htim8.Init.RepetitionCounter = 0;
  htim8.Init.AutoReloadPreload = TIM_AUTORELOAD_PRELOAD_DISABLE;
  if (HAL_TIM_PWM_Init(&htim8) != HAL_OK)
  {
    Error_Handler();
  }
  sMasterConfig.MasterOutputTrigger = TIM_TRGO_UPDATE;
  sMasterConfig.MasterOutputTrigger2 = TIM_TRGO2_RESET;
  sMasterConfig.MasterSlaveMode = TIM_MASTERSLAVEMODE_DISABLE;
  if (HAL_TIMEx_MasterConfigSynchronization(&htim8, &sMasterConfig) != HAL_OK)
  {
    Error_Handler();
  }
  sConfigOC.OCMode = TIM_OCMODE_PWM1;
  sConfigOC.Pulse = 189;
  sConfigOC.OCPolarity = TIM_OCPOLARITY_HIGH;
  sConfigOC.OCNPolarity = TIM_OCNPOLARITY_HIGH;
  sConfigOC.OCFastMode = TIM_OCFAST_DISABLE;
  sConfigOC.OCIdleState = TIM_OCIDLESTATE_RESET;
  sConfigOC.OCNIdleState = TIM_OCNIDLESTATE_RESET;
  if (HAL_TIM_PWM_ConfigChannel(&htim8, &sConfigOC, TIM_CHANNEL_1) != HAL_OK)
  {
    Error_Handler();
  }
  sBreakDeadTimeConfig.OffStateRunMode = TIM_OSSR_DISABLE;
  sBreakDeadTimeConfig.OffStateIDLEMode = TIM_OSSI_DISABLE;
  sBreakDeadTimeConfig.LockLevel = TIM_LOCKLEVEL_OFF;
  sBreakDeadTimeConfig.DeadTime = 0;
  sBreakDeadTimeConfig.BreakState = TIM_BREAK_DISABLE;
  sBreakDeadTimeConfig.BreakPolarity = TIM_BREAKPOLARITY_HIGH;
  sBreakDeadTimeConfig.BreakFilter = 0;
  sBreakDeadTimeConfig.BreakAFMode = TIM_BREAK_AFMODE_INPUT;
  sBreakDeadTimeConfig.Break2State = TIM_BREAK2_DISABLE;
  sBreakDeadTimeConfig.Break2Polarity = TIM_BREAK2POLARITY_HIGH;
  sBreakDeadTimeConfig.Break2Filter = 0;
  sBreakDeadTimeConfig.Break2AFMode = TIM_BREAK_AFMODE_INPUT;
  sBreakDeadTimeConfig.AutomaticOutput = TIM_AUTOMATICOUTPUT_DISABLE;
  if (HAL_TIMEx_ConfigBreakDeadTime(&htim8, &sBreakDeadTimeConfig) != HAL_OK)
  {
    Error_Handler();
  }
  HAL_TIM_MspPostInit(&htim8);

}

static void MX_TIM15_Init(void)
{

  TIM_SlaveConfigTypeDef sSlaveConfig = {0};
  TIM_MasterConfigTypeDef sMasterConfig = {0};
  TIM_OC_InitTypeDef sConfigOC = {0};
  TIM_BreakDeadTimeConfigTypeDef sBreakDeadTimeConfig = {0};

  htim15.Instance = TIM15;
  htim15.Init.Prescaler = 0;
  htim15.Init.CounterMode = TIM_COUNTERMODE_UP;
  htim15.Init.Period = 65535;
  htim15.Init.ClockDivision = TIM_CLOCKDIVISION_DIV1;
  htim15.Init.RepetitionCounter = 0;
  htim15.Init.AutoReloadPreload = TIM_AUTORELOAD_PRELOAD_DISABLE;
  if (HAL_TIM_Base_Init(&htim15) != HAL_OK)
  {
    Error_Handler();
  }
  if (HAL_TIM_OC_Init(&htim15) != HAL_OK)
  {
    Error_Handler();
  }
  sSlaveConfig.SlaveMode = TIM_SLAVEMODE_EXTERNAL1;
  sSlaveConfig.InputTrigger = TIM_TS_ITR4;
  if (HAL_TIM_SlaveConfigSynchro(&htim15, &sSlaveConfig) != HAL_OK)
  {
    Error_Handler();
  }
  sMasterConfig.MasterOutputTrigger = TIM_TRGO_RESET;
  sMasterConfig.MasterSlaveMode = TIM_MASTERSLAVEMODE_DISABLE;
  if (HAL_TIMEx_MasterConfigSynchronization(&htim15, &sMasterConfig) != HAL_OK)
  {
    Error_Handler();
  }
  sConfigOC.OCMode = TIM_OCMODE_TIMING;
  sConfigOC.Pulse = 0;
  sConfigOC.OCPolarity = TIM_OCPOLARITY_HIGH;
  sConfigOC.OCNPolarity = TIM_OCNPOLARITY_HIGH;
  sConfigOC.OCFastMode = TIM_OCFAST_DISABLE;
  sConfigOC.OCIdleState = TIM_OCIDLESTATE_RESET;
  sConfigOC.OCNIdleState = TIM_OCNIDLESTATE_RESET;
  if (HAL_TIM_OC_ConfigChannel(&htim15, &sConfigOC, TIM_CHANNEL_1) != HAL_OK)
  {
    Error_Handler();
  }
  sBreakDeadTimeConfig.OffStateRunMode = TIM_OSSR_DISABLE;
  sBreakDeadTimeConfig.OffStateIDLEMode = TIM_OSSI_DISABLE;
  sBreakDeadTimeConfig.LockLevel = TIM_LOCKLEVEL_OFF;
  sBreakDeadTimeConfig.DeadTime = 0;
  sBreakDeadTimeConfig.BreakState = TIM_BREAK_DISABLE;
  sBreakDeadTimeConfig.BreakPolarity = TIM_BREAKPOLARITY_HIGH;
  sBreakDeadTimeConfig.BreakFilter = 0;
  sBreakDeadTimeConfig.AutomaticOutput = TIM_AUTOMATICOUTPUT_DISABLE;
  if (HAL_TIMEx_ConfigBreakDeadTime(&htim15, &sBreakDeadTimeConfig) != HAL_OK)
  {
    Error_Handler();
  }
  /* USER CODE BEGIN TIM15_Init 2 */
  set_slave_ts(TIM15, 12);
  /* USER CODE END TIM15_Init 2 */

}

static void MX_TIM16_Init(void)
{

  TIM_OC_InitTypeDef sConfigOC = {0};
  TIM_BreakDeadTimeConfigTypeDef sBreakDeadTimeConfig = {0};

  htim16.Instance = TIM16;
  htim16.Init.Prescaler = 0;
  htim16.Init.CounterMode = TIM_COUNTERMODE_UP;
  htim16.Init.Period = 377;
  htim16.Init.ClockDivision = TIM_CLOCKDIVISION_DIV1;
  htim16.Init.RepetitionCounter = 0;
  htim16.Init.AutoReloadPreload = TIM_AUTORELOAD_PRELOAD_DISABLE;
  if (HAL_TIM_Base_Init(&htim16) != HAL_OK)
  {
    Error_Handler();
  }
  if (HAL_TIM_PWM_Init(&htim16) != HAL_OK)
  {
    Error_Handler();
  }
  sConfigOC.OCMode = TIM_OCMODE_PWM1;
  sConfigOC.Pulse = 189;
  sConfigOC.OCPolarity = TIM_OCPOLARITY_HIGH;
  sConfigOC.OCNPolarity = TIM_OCNPOLARITY_HIGH;
  sConfigOC.OCFastMode = TIM_OCFAST_DISABLE;
  sConfigOC.OCIdleState = TIM_OCIDLESTATE_RESET;
  sConfigOC.OCNIdleState = TIM_OCNIDLESTATE_RESET;
  if (HAL_TIM_PWM_ConfigChannel(&htim16, &sConfigOC, TIM_CHANNEL_1) != HAL_OK)
  {
    Error_Handler();
  }
  sBreakDeadTimeConfig.OffStateRunMode = TIM_OSSR_DISABLE;
  sBreakDeadTimeConfig.OffStateIDLEMode = TIM_OSSI_DISABLE;
  sBreakDeadTimeConfig.LockLevel = TIM_LOCKLEVEL_OFF;
  sBreakDeadTimeConfig.DeadTime = 0;
  sBreakDeadTimeConfig.BreakState = TIM_BREAK_DISABLE;
  sBreakDeadTimeConfig.BreakPolarity = TIM_BREAKPOLARITY_HIGH;
  sBreakDeadTimeConfig.BreakFilter = 0;
  sBreakDeadTimeConfig.AutomaticOutput = TIM_AUTOMATICOUTPUT_DISABLE;
  if (HAL_TIMEx_ConfigBreakDeadTime(&htim16, &sBreakDeadTimeConfig) != HAL_OK)
  {
    Error_Handler();
  }
  HAL_TIM_MspPostInit(&htim16);

}

static void MX_TIM17_Init(void)
{

  TIM_OC_InitTypeDef sConfigOC = {0};
  TIM_BreakDeadTimeConfigTypeDef sBreakDeadTimeConfig = {0};

  htim17.Instance = TIM17;
  htim17.Init.Prescaler = 0;
  htim17.Init.CounterMode = TIM_COUNTERMODE_UP;
  htim17.Init.Period = 377;
  htim17.Init.ClockDivision = TIM_CLOCKDIVISION_DIV1;
  htim17.Init.RepetitionCounter = 0;
  htim17.Init.AutoReloadPreload = TIM_AUTORELOAD_PRELOAD_DISABLE;
  if (HAL_TIM_Base_Init(&htim17) != HAL_OK)
  {
    Error_Handler();
  }
  if (HAL_TIM_PWM_Init(&htim17) != HAL_OK)
  {
    Error_Handler();
  }
  sConfigOC.OCMode = TIM_OCMODE_PWM1;
  sConfigOC.Pulse = 189;
  sConfigOC.OCPolarity = TIM_OCPOLARITY_HIGH;
  sConfigOC.OCNPolarity = TIM_OCNPOLARITY_HIGH;
  sConfigOC.OCFastMode = TIM_OCFAST_DISABLE;
  sConfigOC.OCIdleState = TIM_OCIDLESTATE_RESET;
  sConfigOC.OCNIdleState = TIM_OCNIDLESTATE_RESET;
  if (HAL_TIM_PWM_ConfigChannel(&htim17, &sConfigOC, TIM_CHANNEL_1) != HAL_OK)
  {
    Error_Handler();
  }
  sBreakDeadTimeConfig.OffStateRunMode = TIM_OSSR_DISABLE;
  sBreakDeadTimeConfig.OffStateIDLEMode = TIM_OSSI_DISABLE;
  sBreakDeadTimeConfig.LockLevel = TIM_LOCKLEVEL_OFF;
  sBreakDeadTimeConfig.DeadTime = 0;
  sBreakDeadTimeConfig.BreakState = TIM_BREAK_DISABLE;
  sBreakDeadTimeConfig.BreakPolarity = TIM_BREAKPOLARITY_HIGH;
  sBreakDeadTimeConfig.BreakFilter = 0;
  sBreakDeadTimeConfig.AutomaticOutput = TIM_AUTOMATICOUTPUT_DISABLE;
  if (HAL_TIMEx_ConfigBreakDeadTime(&htim17, &sBreakDeadTimeConfig) != HAL_OK)
  {
    Error_Handler();
  }
  HAL_TIM_MspPostInit(&htim17);

}

static void MX_TIM20_Init(void)
{

  TIM_SlaveConfigTypeDef sSlaveConfig = {0};
  TIM_MasterConfigTypeDef sMasterConfig = {0};
  TIM_OC_InitTypeDef sConfigOC = {0};
  TIM_BreakDeadTimeConfigTypeDef sBreakDeadTimeConfig = {0};

  htim20.Instance = TIM20;
  htim20.Init.Prescaler = 0;
  htim20.Init.CounterMode = TIM_COUNTERMODE_UP;
  htim20.Init.Period = 65535;
  htim20.Init.ClockDivision = TIM_CLOCKDIVISION_DIV1;
  htim20.Init.RepetitionCounter = 0;
  htim20.Init.AutoReloadPreload = TIM_AUTORELOAD_PRELOAD_DISABLE;
  if (HAL_TIM_Base_Init(&htim20) != HAL_OK)
  {
    Error_Handler();
  }
  if (HAL_TIM_OC_Init(&htim20) != HAL_OK)
  {
    Error_Handler();
  }
  sSlaveConfig.SlaveMode = TIM_SLAVEMODE_EXTERNAL1;
  sSlaveConfig.InputTrigger = TIM_TS_ITR3;
  if (HAL_TIM_SlaveConfigSynchro(&htim20, &sSlaveConfig) != HAL_OK)
  {
    Error_Handler();
  }
  sMasterConfig.MasterOutputTrigger = TIM_TRGO_RESET;
  sMasterConfig.MasterOutputTrigger2 = TIM_TRGO2_RESET;
  sMasterConfig.MasterSlaveMode = TIM_MASTERSLAVEMODE_DISABLE;
  if (HAL_TIMEx_MasterConfigSynchronization(&htim20, &sMasterConfig) != HAL_OK)
  {
    Error_Handler();
  }
  sConfigOC.OCMode = TIM_OCMODE_TIMING;
  sConfigOC.Pulse = 0;
  sConfigOC.OCPolarity = TIM_OCPOLARITY_HIGH;
  sConfigOC.OCNPolarity = TIM_OCNPOLARITY_HIGH;
  sConfigOC.OCFastMode = TIM_OCFAST_DISABLE;
  sConfigOC.OCIdleState = TIM_OCIDLESTATE_RESET;
  sConfigOC.OCNIdleState = TIM_OCNIDLESTATE_RESET;
  if (HAL_TIM_OC_ConfigChannel(&htim20, &sConfigOC, TIM_CHANNEL_1) != HAL_OK)
  {
    Error_Handler();
  }
  sBreakDeadTimeConfig.OffStateRunMode = TIM_OSSR_DISABLE;
  sBreakDeadTimeConfig.OffStateIDLEMode = TIM_OSSI_DISABLE;
  sBreakDeadTimeConfig.LockLevel = TIM_LOCKLEVEL_OFF;
  sBreakDeadTimeConfig.DeadTime = 0;
  sBreakDeadTimeConfig.BreakState = TIM_BREAK_DISABLE;
  sBreakDeadTimeConfig.BreakPolarity = TIM_BREAKPOLARITY_HIGH;
  sBreakDeadTimeConfig.BreakFilter = 0;
  sBreakDeadTimeConfig.BreakAFMode = TIM_BREAK_AFMODE_INPUT;
  sBreakDeadTimeConfig.Break2State = TIM_BREAK2_DISABLE;
  sBreakDeadTimeConfig.Break2Polarity = TIM_BREAK2POLARITY_HIGH;
  sBreakDeadTimeConfig.Break2Filter = 0;
  sBreakDeadTimeConfig.Break2AFMode = TIM_BREAK_AFMODE_INPUT;
  sBreakDeadTimeConfig.AutomaticOutput = TIM_AUTOMATICOUTPUT_DISABLE;
  if (HAL_TIMEx_ConfigBreakDeadTime(&htim20, &sBreakDeadTimeConfig) != HAL_OK)
  {
    Error_Handler();
  }
  /* USER CODE BEGIN TIM20_Init 2 */
  set_slave_ts(TIM20, 11);
  /* USER CODE END TIM20_Init 2 */

}

static void MX_USART2_UART_Init(void)
{

  huart2.Instance = USART2;
  huart2.Init.BaudRate = 115200;
  huart2.Init.WordLength = UART_WORDLENGTH_8B;
  huart2.Init.StopBits = UART_STOPBITS_1;
  huart2.Init.Parity = UART_PARITY_NONE;
  huart2.Init.Mode = UART_MODE_TX_RX;
  huart2.Init.HwFlowCtl = UART_HWCONTROL_NONE;
  huart2.Init.OverSampling = UART_OVERSAMPLING_16;
  huart2.Init.OneBitSampling = UART_ONE_BIT_SAMPLE_DISABLE;
  huart2.Init.ClockPrescaler = UART_PRESCALER_DIV1;
  huart2.AdvancedInit.AdvFeatureInit = UART_ADVFEATURE_NO_INIT;
  if (HAL_UART_Init(&huart2) != HAL_OK)
  {
    Error_Handler();
  }
  if (HAL_UARTEx_SetTxFifoThreshold(&huart2, UART_TXFIFO_THRESHOLD_1_8) != HAL_OK)
  {
    Error_Handler();
  }
  if (HAL_UARTEx_SetRxFifoThreshold(&huart2, UART_RXFIFO_THRESHOLD_1_8) != HAL_OK)
  {
    Error_Handler();
  }
  if (HAL_UARTEx_DisableFifoMode(&huart2) != HAL_OK)
  {
    Error_Handler();
  }

}

static void MX_GPIO_Init(void)
{
  GPIO_InitTypeDef GPIO_InitStruct = {0};

  /* GPIO Ports Clock Enable */
  __HAL_RCC_GPIOE_CLK_ENABLE();
  __HAL_RCC_GPIOF_CLK_ENABLE();
  __HAL_RCC_GPIOC_CLK_ENABLE();
  __HAL_RCC_GPIOA_CLK_ENABLE();
  __HAL_RCC_GPIOB_CLK_ENABLE();
  __HAL_RCC_GPIOD_CLK_ENABLE();

  /*Configure GPIO pin Output Level */
  HAL_GPIO_WritePin(GPIOC, SI5_Pin|SI6_Pin|ENABLEM5_Pin|ENABLEM6_Pin
                          |SI2_Pin|ENABLEM4_Pin|ENABLEM3_Pin|ENABLEM1_Pin, GPIO_PIN_RESET);

  /*Configure GPIO pin Output Level */
  HAL_GPIO_WritePin(GPIOA, WS2812_Pin|SI1_Pin|SI3_Pin|SI4_Pin, GPIO_PIN_RESET);

  /*Configure GPIO pin Output Level */
  HAL_GPIO_WritePin(GPIOB, ENABLEM7_Pin|S6_Pin|S7_Pin, GPIO_PIN_RESET);

  /*Configure GPIO pin Output Level */
  HAL_GPIO_WritePin(RELAIS_GPIO_Port, RELAIS_Pin, GPIO_PIN_RESET);

  /*Configure GPIO pin Output Level */
  HAL_GPIO_WritePin(GPIOD, ENABLEM2_Pin|D1_Pin|D2_Pin|D3_Pin
                          |D4_Pin|D5_Pin|D6_Pin|D7_Pin, GPIO_PIN_RESET);

  /*Configure GPIO pins : READYM4_Pin READYM3_Pin READYM2_Pin READYM1_Pin */
  GPIO_InitStruct.Pin = READYM4_Pin|READYM3_Pin|READYM2_Pin|READYM1_Pin;
  GPIO_InitStruct.Mode = GPIO_MODE_INPUT;
  GPIO_InitStruct.Pull = GPIO_PULLUP;
  HAL_GPIO_Init(GPIOE, &GPIO_InitStruct);

  /*Configure GPIO pins : READYM5_Pin READYM6_Pin */
  GPIO_InitStruct.Pin = READYM5_Pin|READYM6_Pin;
  GPIO_InitStruct.Mode = GPIO_MODE_INPUT;
  GPIO_InitStruct.Pull = GPIO_PULLUP;
  HAL_GPIO_Init(GPIOF, &GPIO_InitStruct);

  /*Configure GPIO pins : READYM7_Pin SO6_Pin SO5_Pin */
  GPIO_InitStruct.Pin = READYM7_Pin|SO6_Pin|SO5_Pin;
  GPIO_InitStruct.Mode = GPIO_MODE_INPUT;
  GPIO_InitStruct.Pull = GPIO_PULLUP;
  HAL_GPIO_Init(GPIOC, &GPIO_InitStruct);

  /*Configure GPIO pins : SI5_Pin SI6_Pin ENABLEM5_Pin ENABLEM6_Pin
                           SI2_Pin ENABLEM4_Pin ENABLEM3_Pin ENABLEM1_Pin */
  GPIO_InitStruct.Pin = SI5_Pin|SI6_Pin|ENABLEM5_Pin|ENABLEM6_Pin
                          |SI2_Pin|ENABLEM4_Pin|ENABLEM3_Pin|ENABLEM1_Pin;
  GPIO_InitStruct.Mode = GPIO_MODE_OUTPUT_PP;
  GPIO_InitStruct.Pull = GPIO_NOPULL;
  GPIO_InitStruct.Speed = GPIO_SPEED_FREQ_LOW;
  HAL_GPIO_Init(GPIOC, &GPIO_InitStruct);

  /*Configure GPIO pin : SI7_Pin */
  GPIO_InitStruct.Pin = SI7_Pin;
  GPIO_InitStruct.Mode = GPIO_MODE_IT_RISING;
  GPIO_InitStruct.Pull = GPIO_NOPULL;
  HAL_GPIO_Init(SI7_GPIO_Port, &GPIO_InitStruct);

  /*Configure GPIO pins : WS2812_Pin SI1_Pin SI3_Pin SI4_Pin */
  GPIO_InitStruct.Pin = WS2812_Pin|SI1_Pin|SI3_Pin|SI4_Pin;
  GPIO_InitStruct.Mode = GPIO_MODE_OUTPUT_PP;
  GPIO_InitStruct.Pull = GPIO_NOPULL;
  GPIO_InitStruct.Speed = GPIO_SPEED_FREQ_LOW;
  HAL_GPIO_Init(GPIOA, &GPIO_InitStruct);

  /*Configure GPIO pin : ENABLEM7_Pin */
  GPIO_InitStruct.Pin = ENABLEM7_Pin;
  GPIO_InitStruct.Mode = GPIO_MODE_OUTPUT_PP;
  GPIO_InitStruct.Pull = GPIO_NOPULL;
  GPIO_InitStruct.Speed = GPIO_SPEED_FREQ_LOW;
  HAL_GPIO_Init(ENABLEM7_GPIO_Port, &GPIO_InitStruct);

  /*Configure GPIO pin : RELAIS_Pin */
  GPIO_InitStruct.Pin = RELAIS_Pin;
  GPIO_InitStruct.Mode = GPIO_MODE_OUTPUT_PP;
  GPIO_InitStruct.Pull = GPIO_NOPULL;
  GPIO_InitStruct.Speed = GPIO_SPEED_FREQ_LOW;
  HAL_GPIO_Init(RELAIS_GPIO_Port, &GPIO_InitStruct);

  /*Configure GPIO pins : ENDSTOPM1_Pin ENDSTOPM2_Pin ENDSTOPM3_Pin ENDSTOPM4_Pin
                           ENDSTOPM5_Pin ENDSTOPM6_Pin ENDSTOPM7_Pin */
  GPIO_InitStruct.Pin = ENDSTOPM1_Pin|ENDSTOPM2_Pin|ENDSTOPM3_Pin|ENDSTOPM4_Pin
                          |ENDSTOPM5_Pin|ENDSTOPM6_Pin|ENDSTOPM7_Pin;
  GPIO_InitStruct.Mode = GPIO_MODE_IT_FALLING;
  GPIO_InitStruct.Pull = GPIO_PULLUP;
  HAL_GPIO_Init(GPIOE, &GPIO_InitStruct);

  /*Configure GPIO pins : SO7_Pin SO4_Pin */
  GPIO_InitStruct.Pin = SO7_Pin|SO4_Pin;
  GPIO_InitStruct.Mode = GPIO_MODE_INPUT;
  GPIO_InitStruct.Pull = GPIO_PULLUP;
  HAL_GPIO_Init(GPIOD, &GPIO_InitStruct);

  /*Configure GPIO pin : ESTOP_Pin */
  GPIO_InitStruct.Pin = ESTOP_Pin;
  GPIO_InitStruct.Mode = GPIO_MODE_IT_RISING;
  GPIO_InitStruct.Pull = GPIO_PULLUP;
  HAL_GPIO_Init(ESTOP_GPIO_Port, &GPIO_InitStruct);

  /*Configure GPIO pin : ENABLEM2_Pin */
  GPIO_InitStruct.Pin = ENABLEM2_Pin;
  GPIO_InitStruct.Mode = GPIO_MODE_OUTPUT_PP;
  GPIO_InitStruct.Pull = GPIO_NOPULL;
  GPIO_InitStruct.Speed = GPIO_SPEED_FREQ_LOW;
  HAL_GPIO_Init(ENABLEM2_GPIO_Port, &GPIO_InitStruct);

  /*Configure GPIO pins : D1_Pin D2_Pin D3_Pin D4_Pin
                           D5_Pin D7_Pin */
  GPIO_InitStruct.Pin = D1_Pin|D2_Pin|D3_Pin|D4_Pin
                          |D5_Pin|D7_Pin;
  GPIO_InitStruct.Mode = GPIO_MODE_OUTPUT_PP;
  GPIO_InitStruct.Pull = GPIO_NOPULL;
  GPIO_InitStruct.Speed = GPIO_SPEED_FREQ_VERY_HIGH;
  HAL_GPIO_Init(GPIOD, &GPIO_InitStruct);

  /*Configure GPIO pin : D6_Pin */
  GPIO_InitStruct.Pin = D6_Pin;
  GPIO_InitStruct.Mode = GPIO_MODE_OUTPUT_PP;
  GPIO_InitStruct.Pull = GPIO_NOPULL;
  GPIO_InitStruct.Speed = GPIO_SPEED_FREQ_HIGH;
  HAL_GPIO_Init(D6_GPIO_Port, &GPIO_InitStruct);

  /*Configure GPIO pins : SO3_Pin SO2_Pin SO1_Pin */
  GPIO_InitStruct.Pin = SO3_Pin|SO2_Pin|SO1_Pin;
  GPIO_InitStruct.Mode = GPIO_MODE_INPUT;
  GPIO_InitStruct.Pull = GPIO_PULLUP;
  HAL_GPIO_Init(GPIOB, &GPIO_InitStruct);

  /*Configure GPIO pins : S6_Pin S7_Pin */
  GPIO_InitStruct.Pin = S6_Pin|S7_Pin;
  GPIO_InitStruct.Mode = GPIO_MODE_OUTPUT_PP;
  GPIO_InitStruct.Pull = GPIO_NOPULL;
  GPIO_InitStruct.Speed = GPIO_SPEED_FREQ_VERY_HIGH;
  HAL_GPIO_Init(GPIOB, &GPIO_InitStruct);

  /**/
  __HAL_SYSCFG_FASTMODEPLUS_ENABLE(SYSCFG_FASTMODEPLUS_PB6);

}

void Error_Handler(void)
{
  __disable_irq();
  while (1)
  {
  }
}
